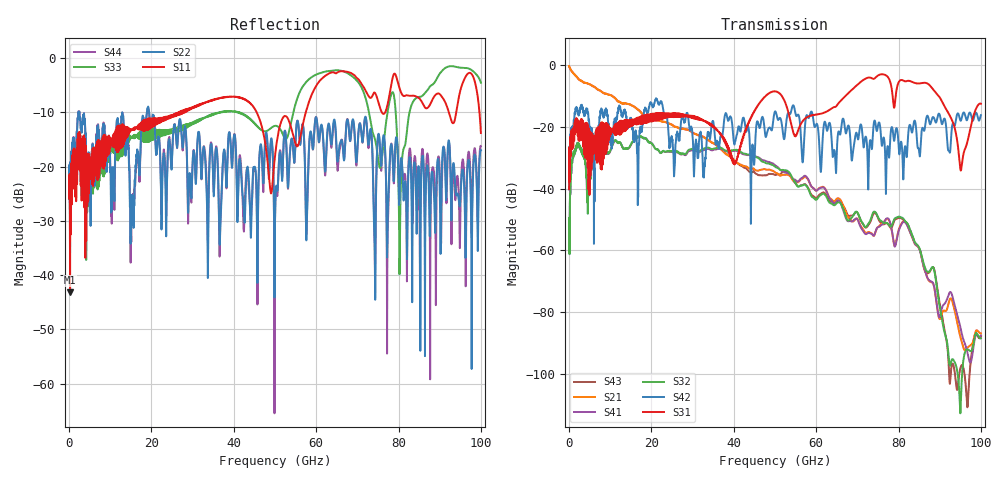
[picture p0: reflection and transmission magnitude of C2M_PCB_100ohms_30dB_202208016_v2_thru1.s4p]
! Info: Touchstone file created by Circ.  Input file=Intel_C2M_200G_13p5in_202208016_staggered.circ
# Hz S RI R 50
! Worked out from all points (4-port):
!   10000 points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, 10 MHz to 100 GHz, reference 50 ohm
!   strongest paths, dB at 10 MHz, 25.01 GHz, 50.01 GHz, 75.01 GHz, 100 GHz:
!     S31: -40.3, -16.3, -8.6, -3.4, -12.6
!     S42: -40.3, -24.5, -15.1, -19.7, -16.3
!     S32: -52.9, -28.0, -32.9, -49.2, -88.5
!     S41: -52.9, -28.2, -32.5, -52.5, -87.6
!     S21: -0.4, -19.4, -34.8, -52.5, -86.9
!     S43: -0.4, -19.3, -35.6, -49.5, -88.0
!   lowest |S11| = -43.1 dB at 240 MHz (marker M1), VSWR 1.01, Z = 50.7 + j0.131 ohm
!   |S11| at or under -10 dB: start of sweep to 26.5 GHz; 45.57 GHz to 57.47 GHz (11.9 GHz wide, 23.1 % of centre); 92.22 GHz to 94 GHz (1.787 GHz wide, 1.92 % of centre)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
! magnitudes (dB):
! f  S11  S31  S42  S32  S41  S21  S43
! 10 MHz  -25.9  -40.3  -40.3  -52.9  -52.9  -0.4  -0.4
! 240 MHz  -43.1  -24.3  -23.5  -42.1  -42.1  -1.2  -1.2
! 40.86 GHz  -7.2  -29.7  -21.9  -27.6  -27.9  -31.7  -31.9
! 78.53 GHz  -3.7  -9.6  -20.7  -51.5  -54.7  -54.9  -52.1
! 80.36 GHz  -5.8  -5.1  -27.1  -49.2  -52.5  -52.2  -49.5
! 95.17 GHz  -5.5  -34.1  -18.0  -107.5  -85.7  -88.7  -97.5
! 100 GHz  -13.8  -12.6  -16.3  -88.5  -87.6  -86.9  -88.0
